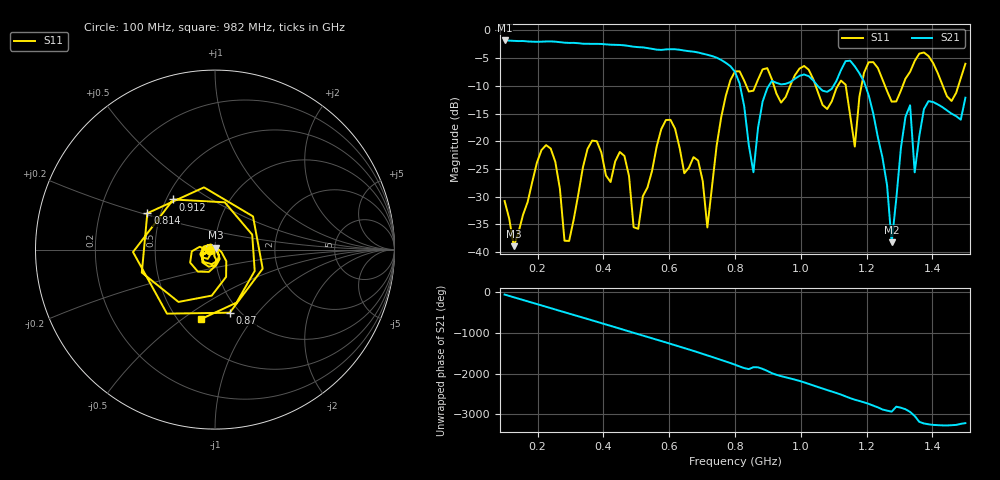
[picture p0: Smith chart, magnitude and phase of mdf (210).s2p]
! NanoVNA-App
! Date: 2025-09-25 15:40:03
! Start: 100MHz Stop: 1,5GHz Points: 101
! S-Parameter data: F S11 S21 S12 S22
# Hz S RI R 50
!  Frequency  S11_Real  S11_Imag  S21_Real  S21_Imag  S12_Real  S12_Imag  S22_Real  S22_Imag
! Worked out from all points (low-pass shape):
!   101 points, 100 MHz to 1.5 GHz, reference 50 ohm
!   highest |S21| = -1.80 dB at 100 MHz (marker M1); lowest = -38.2 dB at 1.276 GHz (marker M2)
!   |S21| within 3 dB of the highest: start of sweep to 739.4 MHz
!   lowest |S11| = -38.9 dB at 128 MHz (marker M3), VSWR 1.02, Z = 50.3 + j1.08 ohm
!   |S11| at or under -10 dB: start of sweep to 780.9 MHz; 1.045 GHz to 1.112 GHz (67.35 MHz wide, 6.24 % of centre); 1.256 GHz to 1.31 GHz (53.77 MHz wide, 4.19 % of centre) (the widest 3 of 7)
!   S12 and S22 are empty: the file has one direction only
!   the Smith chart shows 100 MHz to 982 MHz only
!   S11 on the Smith chart (normalised r, x): 100 MHz: 0.94, -0.01; 814 MHz: 0.42, +0.21; 870 MHz: 0.90, -0.73; 912 MHz: 0.54, +0.35; 982 MHz: 0.64, -0.59
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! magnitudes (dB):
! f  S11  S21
! 100 MHz  -30.8  -1.8
! 128 MHz  -38.9  -1.9
! 212 MHz  -21.6  -2.0
! 282 MHz  -37.9  -2.2
! 338 MHz  -24.7  -2.4
! 464 MHz  -22.6  -2.7
! 506 MHz  -35.8  -3.0
! 576 MHz  -17.8  -3.5
! 716 MHz  -35.5  -4.4
! 800 MHz  -7.4  -7.5
! 814 MHz  -7.4  -9.6
! 856 MHz  -10.9  -25.6
! 870 MHz  -8.9  -17.6
! 912 MHz  -8.8  -9.1
! 982 MHz  -8.1  -8.7
! 1.038 GHz  -8.8  -9.0
! 1.164 GHz  -21.0  -6.5
! 1.192 GHz  -7.6  -9.2
! 1.276 GHz  -12.8  -38.2
! 1.332 GHz  -7.5  -13.5
! 1.346 GHz  -5.5  -25.6
! 1.5 GHz  -6.0  -12.1
